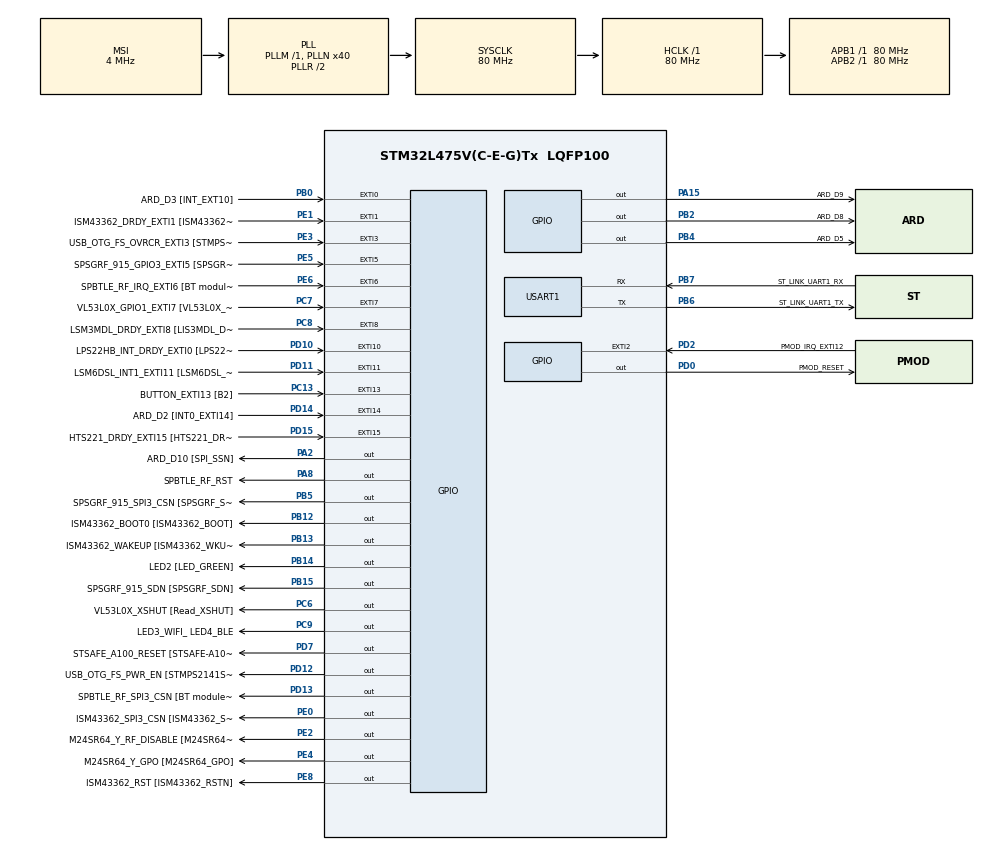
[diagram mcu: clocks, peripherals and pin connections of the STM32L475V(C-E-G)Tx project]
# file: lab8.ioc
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FREERTOS.Tasks01=Thread1,1,128,Thread1Func,Default,NULL,Dynamic,NULL,NULL;Thread2,0,128,Thread2Func,Default,NULL,Dynamic,NULL,NULL
Mcu.Family=STM32L4
Mcu.Name=STM32L475V(C-E-G)Tx
Mcu.Package=LQFP100
Mcu.UserConstants=mainDELAY_LOOP_COUNT,0xffffff
NVIC.EXTI15_10_IRQn=true\:5\:0\:false\:false\:true\:true\:true\:true
NVIC.EXTI9_5_IRQn=true\:5\:0\:false\:false\:true\:true\:true\:true
NVIC.PriorityGroup=NVIC_PRIORITYGROUP_4
PA0.GPIO_Label=ARD_D1 [UART4_TX]
PA0.Signal=UART4_TX
PA1.GPIO_Label=ARD_D0 [UART4_RX]
PA1.Signal=UART4_RX
PA10.GPIO_Label=USB_OTG_FS_ID
PA10.Signal=USB_OTG_FS_ID
PA11.GPIO_Label=USB_OTG_FS_DM
PA11.Signal=USB_OTG_FS_DM
PA12.GPIO_Label=USB_OTG_FS_DP
PA12.Signal=USB_OTG_FS_DP
PA13\ (JTMS-SWDIO).GPIO_Label=SYS_JTMS_SWDIO
PA13\ (JTMS-SWDIO).Mode=Serial_Wire
PA13\ (JTMS-SWDIO).Signal=SYS_JTMS-SWDIO
PA14\ (JTCK-SWCLK).GPIO_Label=SYS_JTCK_SWCLK
PA14\ (JTCK-SWCLK).Mode=Serial_Wire
PA14\ (JTCK-SWCLK).Signal=SYS_JTCK-SWCLK
PA15\ (JTDI).GPIO_Label=ARD_D9
PA15\ (JTDI).Signal=GPIO_Output
PA2.GPIO_Label=ARD_D10 [SPI_SSN]
PA2.Signal=GPIO_Output
PA3.GPIO_Label=ARD_D4
PA3.Signal=S_TIM2_CH4
PA4.GPIO_Label=ARD_D7
PA4.Signal=ADCx_IN9
PA5.GPIO_Label=ARD_D13 [SPI1_SCK]
PA5.Signal=SPI1_SCK
PA6.GPIO_Label=ARD_D12 [SPI1_MISO]
PA6.Signal=SPI1_MISO
PA7.GPIO_Label=ARD_D11 [SPI1_MOSI]
PA7.Signal=SPI1_MOSI
PA8.GPIO_Label=SPBTLE_RF_RST
PA8.Signal=GPIO_Output
PA9.GPIO_Label=USB_OTG_FS_VBUS [STMPS2141STR_OUT]
PA9.Signal=USB_OTG_FS_VBUS
PB0.GPIO_Label=ARD_D3 [INT_EXT10]
PB0.Signal=GPXTI0
PB1.GPIO_Label=ARD_D6 [ADC1_IN6]
PB1.Signal=ADCx_IN16
PB10.GPIO_Label=INTERNAL_I2C2_SCL [VL53L0X_SCL]
PB10.Signal=I2C2_SCL
PB11.GPIO_Label=INTERNAL_I2C2_SDA [VL53L0X_SDA]
PB11.Signal=I2C2_SDA
PB12.GPIO_Label=ISM43362_BOOT0 [ISM43362_BOOT]
PB12.Signal=GPIO_Output
PB13.GPIO_Label=ISM43362_WAKEUP [ISM43362_WKUP]
PB13.Signal=GPIO_Output
PB14.GPIO_Label=LED2 [LED_GREEN]
PB14.Signal=GPIO_Output
PB15.GPIO_Label=SPSGRF_915_SDN [SPSGRF_SDN]
PB15.Signal=GPIO_Output
PB2.GPIO_Label=ARD_D8
PB2.Signal=GPIO_Output
PB3\ (JTDO-TRACESWO).GPIO_Label=SYS_JTD0_SWO
PB3\ (JTDO-TRACESWO).Signal=SYS_JTDO-SWO
PB4\ (NJTRST).GPIO_Label=ARD_D5
PB4\ (NJTRST).Signal=GPIO_Output
PB5.GPIO_Label=SPSGRF_915_SPI3_CSN [SPSGRF_SPI_CS]
PB5.PinState=GPIO_PIN_SET
PB5.Signal=GPIO_Output
PB6.GPIO_Label=ST_LINK_UART1_TX
PB6.Mode=Asynchronous
PB6.Signal=USART1_TX
PB7.GPIO_Label=ST_LINK_UART1_RX
PB7.Mode=Asynchronous
PB7.Signal=USART1_RX
PB8.GPIO_Label=ARD_D15 [I2C1_SCL]
PB8.Signal=I2C1_SCL
PB9.GPIO_Label=ARD_D14 [I2C1_SDA]
PB9.Signal=I2C1_SDA
PC0.GPIO_Label=ARD_A5 [ADC]
PC0.Signal=ADCx_IN1
PC1.GPIO_Label=ARD_A4 [ADC]
PC1.Signal=ADCx_IN2
PC10.GPIO_Label=INTERNAL_SPI3_SCK [BT module_SPI_SCLK] [ISM43362_SCK]
PC10.Signal=SPI3_SCK
PC11.GPIO_Label=INTERNAL_SPI3_MISO [BT module_SPI_MISO] [ISM43362_MISO]
PC11.Signal=SPI3_MISO
PC12.GPIO_Label=INTERNAL_SPI3_MOSI [BT module_SPI_MOSI] [ISM43362_MOSI]
PC12.Signal=SPI3_MOSI
PC13.GPIO_Label=BUTTON_EXTI13 [B2]
PC13.GPIO_ModeDefaultEXTI=GPIO_MODE_IT_FALLING
PC13.Signal=GPXTI13
PC14-OSC32_IN\ (PC14).Signal=RCC_OSC32_IN
PC15-OSC32_OUT\ (PC15).Signal=RCC_OSC32_OUT
PC2.GPIO_Label=ARD_A3 [ADC]
PC2.Signal=ADCx_IN3
PC3.GPIO_Label=ARD_A2 [ADC]
PC3.Signal=ADCx_IN4
PC4.GPIO_Label=ARD_A1 [ADC]
PC4.Signal=ADCx_IN13
PC5.GPIO_Label=ARD_A0 [ADC]
PC5.Signal=ADCx_IN14
PC6.GPIO_Label=VL53L0X_XSHUT [Read_XSHUT]
PC6.Signal=GPIO_Output
PC7.GPIO_Label=VL53L0X_GPIO1_EXTI7 [VL53L0X_GPIO1]
PC7.Signal=GPXTI7
PC8.GPIO_Label=LSM3MDL_DRDY_EXTI8 [LIS3MDL_DRDY]
PC8.Signal=GPXTI8
PC9.GPIO_Label=LED3_WIFI_ LED4_BLE
PC9.Signal=GPIO_Output
PD0.GPIO_Label=PMOD_RESET
PD0.Signal=GPIO_Output
PD1.GPIO_Label=PMOD_SPI2_SCK
PD1.Signal=SPI2_SCK
PD10.GPIO_Label=LPS22HB_INT_DRDY_EXTI0 [LPS22HB_INT_DRDY] 
PD10.Signal=GPXTI10
PD11.GPIO_Label=LSM6DSL_INT1_EXTI11 [LSM6DSL_INT1]
PD11.Signal=GPXTI11
PD12.GPIO_Label=USB_OTG_FS_PWR_EN [STMPS2141STR_EN]
PD12.Signal=GPIO_Output
PD13.GPIO_Label=SPBTLE_RF_SPI3_CSN [BT module_SPI_CS]
PD13.PinState=GPIO_PIN_SET
PD13.Signal=GPIO_Output
PD14.GPIO_Label=ARD_D2 [INT0_EXTI14]
PD14.Signal=GPXTI14
PD15.GPIO_Label=HTS221_DRDY_EXTI15 [HTS221_DRDY]
PD15.Signal=GPXTI15
PD2.GPIO_Label=PMOD_IRQ_EXTI12
PD2.Signal=GPXTI2
PD3.GPIO_Label=PMOD_UART2_CTS
PD3.Signal=USART2_CTS
PD4.GPIO_Label=PMOD_UART2_RTS
PD4.Signal=USART2_RTS
PD5.GPIO_Label=PMOD_UART2_TX
PD5.Signal=USART2_TX
PD6.GPIO_Label=PMOD_UART2_RX
PD6.Signal=USART2_RX
PD7.GPIO_Label=STSAFE_A100_RESET [STSAFE-A100_RESET]
PD7.Signal=GPIO_Output
PD8.GPIO_Label=INTERNAL_UART3_TX [ISM43362_RX]
PD8.Signal=USART3_TX
PD9.GPIO_Label=INTERNAL_UART3_RX [ISM43362_TX]
PD9.Signal=USART3_RX
PE0.GPIO_Label=ISM43362_SPI3_CSN [ISM43362_SSN]
PE0.PinState=GPIO_PIN_SET
PE0.Signal=GPIO_Output
PE1.GPIO_Label=ISM43362_DRDY_EXTI1 [ISM43362_DATARDY]
PE1.Signal=GPXTI1
PE10.GPIO_Label=QUADSPI_CLK [MX25R6435F_SCLK]
PE10.Signal=QUADSPI_CLK
PE11.GPIO_Label=QUADSPI_NCS [MX25R6435F_SCLK]
PE11.Signal=QUADSPI_NCS
PE12.GPIO_Label=OQUADSPI_BK1_IO0 [MX25R6435F_IO0]
PE12.Signal=QUADSPI_BK1_IO0
PE13.GPIO_Label=QUADSPI_BK1_IO1 [MX25R6435F_IO1]
PE13.Signal=QUADSPI_BK1_IO1
PE14.GPIO_Label=QUAD_SPI_BK1_IO2 [MX25R6435F_IO2]
PE14.Signal=QUADSPI_BK1_IO2
PE15.GPIO_Label=QUAD_SPI_BK1_IO3 [MX25R6435F_IO3]
PE15.Signal=QUADSPI_BK1_IO3
PE2.GPIO_Label=M24SR64_Y_RF_DISABLE [M24SR64_RFDIS]
PE2.Signal=GPIO_Output
PE3.GPIO_Label=USB_OTG_FS_OVRCR_EXTI3 [STMPS2141STR_FAULT]
PE3.Signal=GPXTI3
PE4.GPIO_Label=M24SR64_Y_GPO [M24SR64_GPO]
PE4.Signal=GPIO_Output
PE5.GPIO_Label=SPSGRF_915_GPIO3_EXTI5 [SPSGRF_GPIO_3]
PE5.Signal=GPXTI5
PE6.GPIO_Label=SPBTLE_RF_IRQ_EXTI6 [BT module_SPI_IRQ]
PE6.Signal=GPXTI6
PE7.GPIO_Label=DFSDM1_DATIN2 [MP34DT01_DOUT]
PE7.Signal=S_DATAIN2DFSDM1
PE8.GPIO_Label=ISM43362_RST [ISM43362_RSTN]
PE8.Signal=GPIO_Output
PE9.GPIO_Label=DFSDM1_CKOUT [MP34DT01_CLK]
PE9.Signal=S_CKOUTDFSDM1
ProjectManager.HeapSize=0x200
ProjectManager.StackSize=0x400
ProjectManager.TargetToolchain=MDK-ARM V5.27
RCC.ADCFreq_Value=48000000
RCC.AHBFreq_Value=80000000
RCC.APB1Freq_Value=80000000
RCC.APB1TimFreq_Value=80000000
RCC.APB2Freq_Value=80000000
RCC.APB2TimFreq_Value=80000000
RCC.CortexFreq_Value=80000000
RCC.HCLKFreq_Value=80000000
RCC.HSE_VALUE=8000000
RCC.HSI_VALUE=16000000
RCC.LSE_VALUE=32768
RCC.MSI_VALUE=4000000
RCC.PLLN=40
RCC.PLLSAI1N=24
RCC.SYSCLKFreq_VALUE=80000000
RCC.SYSCLKSource=RCC_SYSCLKSOURCE_PLLCLK
RCC.USBFreq_Value=48000000
RCC.VCOOutputFreq_Value=160000000
SH.ADCx_IN1.0=ADC1_IN1
SH.ADCx_IN13.0=ADC1_IN13
SH.ADCx_IN14.0=ADC1_IN14
SH.ADCx_IN16.0=ADC1_IN16
SH.ADCx_IN2.0=ADC1_IN2
SH.ADCx_IN3.0=ADC1_IN3
SH.ADCx_IN4.0=ADC1_IN4
SH.ADCx_IN9.0=ADC1_IN9
SH.S_CKOUTDFSDM1.0=DFSDM1_CKOUT
SH.S_DATAIN2DFSDM1.0=DFSDM1_DATIN2
SH.S_TIM2_CH4.0=TIM2_CH4
USART1.VirtualMode-Asynchronous=VM_ASYNC
VP_FREERTOS_VS_CMSIS_V1.Mode=CMSIS_V1
board=B-L475E-IOT01A1

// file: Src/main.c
/* USER CODE BEGIN Header */
/**
  ******************************************************************************
  * @file           : main.c
  * @brief          : Main program body
  ******************************************************************************
  * @attention
  *
  * <h2><center>&copy; Copyright (c) 2020 STMicroelectronics.
  * All rights reserved.</center></h2>
  *
  * This software component is licensed by ST under Ultimate Liberty license
  * SLA0044, the "License"; You may not use this file except in compliance with
  * the License. You may obtain a copy of the License at:
  *                             www.st.com/SLA0044
  *
  ******************************************************************************
  */
/* USER CODE END Header */

#include "main.h"
#include "cmsis_os.h"

/* USER CODE BEGIN Includes */
#include "stdio.h"
/* USER CODE END Includes */

UART_HandleTypeDef huart1;

osThreadId Thread1Handle;
osThreadId Thread2Handle;

void SystemClock_Config(void);
static void MX_GPIO_Init(void);
static void MX_USART1_UART_Init(void);
void Thread1Func(void const * argument);
void Thread2Func(void const * argument);

/* USER CODE BEGIN PFP */
#ifdef __GNUC__
#define PUTCHAR_PROTOTYPE int __io_putchar(int ch)
#else
#define PUTCHAR_PROTOTYPE int fputc(int ch, FILE *f)
#endif /* __GNUC__ */
/* USER CODE END PFP */

/* USER CODE BEGIN 0 */
PUTCHAR_PROTOTYPE
{
  /* e.g. write a character to the USART1 and Loop until the end of transmission */
  HAL_UART_Transmit(&huart1, (uint8_t *)&ch, 1, 0xFFFF);

  return ch;
}
/* USER CODE END 0 */

int main(void)
{

  /* MCU Configuration--------------------------------------------------------*/

  /* Reset of all peripherals, Initializes the Flash interface and the Systick. */
  HAL_Init();

  /* Configure the system clock */
  SystemClock_Config();

  /* Initialize all configured peripherals */
  MX_GPIO_Init();
  MX_USART1_UART_Init();
  /* USER CODE BEGIN 2 */
	printf("\n\rFreeRTOS Lab 8\n\r");
  /* USER CODE END 2 */

  /* Create the thread(s) */
  /* definition and creation of Thread1 */
  osThreadDef(Thread1, Thread1Func, osPriorityAboveNormal, 0, 128);
  Thread1Handle = osThreadCreate(osThread(Thread1), NULL);

  /* definition and creation of Thread2 */
  osThreadDef(Thread2, Thread2Func, osPriorityNormal, 0, 128);
  Thread2Handle = osThreadCreate(osThread(Thread2), NULL);

  /* Start scheduler */
  osKernelStart();

  /* We should never get here as control is now taken by the scheduler */

  /* Infinite loop */
  while (1)
  {

  }
}

void SystemClock_Config(void)
{
  RCC_OscInitTypeDef RCC_OscInitStruct = {0};
  RCC_ClkInitTypeDef RCC_ClkInitStruct = {0};
  RCC_PeriphCLKInitTypeDef PeriphClkInit = {0};

  /** Initializes the CPU, AHB and APB busses clocks
  */
  RCC_OscInitStruct.OscillatorType = RCC_OSCILLATORTYPE_MSI;
  RCC_OscInitStruct.MSIState = RCC_MSI_ON;
  RCC_OscInitStruct.MSICalibrationValue = 0;
  RCC_OscInitStruct.MSIClockRange = RCC_MSIRANGE_6;
  RCC_OscInitStruct.PLL.PLLState = RCC_PLL_ON;
  RCC_OscInitStruct.PLL.PLLSource = RCC_PLLSOURCE_MSI;
  RCC_OscInitStruct.PLL.PLLM = 1;
  RCC_OscInitStruct.PLL.PLLN = 40;
  RCC_OscInitStruct.PLL.PLLP = RCC_PLLP_DIV7;
  RCC_OscInitStruct.PLL.PLLQ = RCC_PLLQ_DIV2;
  RCC_OscInitStruct.PLL.PLLR = RCC_PLLR_DIV2;
  if (HAL_RCC_OscConfig(&RCC_OscInitStruct) != HAL_OK)
  {
    Error_Handler();
  }
  /** Initializes the CPU, AHB and APB busses clocks
  */
  RCC_ClkInitStruct.ClockType = RCC_CLOCKTYPE_HCLK|RCC_CLOCKTYPE_SYSCLK
                              |RCC_CLOCKTYPE_PCLK1|RCC_CLOCKTYPE_PCLK2;
  RCC_ClkInitStruct.SYSCLKSource = RCC_SYSCLKSOURCE_PLLCLK;
  RCC_ClkInitStruct.AHBCLKDivider = RCC_SYSCLK_DIV1;
  RCC_ClkInitStruct.APB1CLKDivider = RCC_HCLK_DIV1;
  RCC_ClkInitStruct.APB2CLKDivider = RCC_HCLK_DIV1;

  if (HAL_RCC_ClockConfig(&RCC_ClkInitStruct, FLASH_LATENCY_4) != HAL_OK)
  {
    Error_Handler();
  }
  PeriphClkInit.PeriphClockSelection = RCC_PERIPHCLK_USART1;
  PeriphClkInit.Usart1ClockSelection = RCC_USART1CLKSOURCE_PCLK2;
  if (HAL_RCCEx_PeriphCLKConfig(&PeriphClkInit) != HAL_OK)
  {
    Error_Handler();
  }
  /** Configure the main internal regulator output voltage
  */
  if (HAL_PWREx_ControlVoltageScaling(PWR_REGULATOR_VOLTAGE_SCALE1) != HAL_OK)
  {
    Error_Handler();
  }
}

static void MX_USART1_UART_Init(void)
{

  huart1.Instance = USART1;
  huart1.Init.BaudRate = 115200;
  huart1.Init.WordLength = UART_WORDLENGTH_8B;
  huart1.Init.StopBits = UART_STOPBITS_1;
  huart1.Init.Parity = UART_PARITY_NONE;
  huart1.Init.Mode = UART_MODE_TX_RX;
  huart1.Init.HwFlowCtl = UART_HWCONTROL_NONE;
  huart1.Init.OverSampling = UART_OVERSAMPLING_16;
  huart1.Init.OneBitSampling = UART_ONE_BIT_SAMPLE_DISABLE;
  huart1.AdvancedInit.AdvFeatureInit = UART_ADVFEATURE_NO_INIT;
  if (HAL_UART_Init(&huart1) != HAL_OK)
  {
    Error_Handler();
  }

}

static void MX_GPIO_Init(void)
{
  GPIO_InitTypeDef GPIO_InitStruct = {0};

  /* GPIO Ports Clock Enable */
  __HAL_RCC_GPIOE_CLK_ENABLE();
  __HAL_RCC_GPIOC_CLK_ENABLE();
  __HAL_RCC_GPIOH_CLK_ENABLE();
  __HAL_RCC_GPIOA_CLK_ENABLE();
  __HAL_RCC_GPIOB_CLK_ENABLE();
  __HAL_RCC_GPIOD_CLK_ENABLE();

  /*Configure GPIO pin Output Level */
  HAL_GPIO_WritePin(GPIOE, M24SR64_Y_RF_DISABLE_Pin|M24SR64_Y_GPO_Pin|ISM43362_RST_Pin, GPIO_PIN_RESET);

  /*Configure GPIO pin Output Level */
  HAL_GPIO_WritePin(GPIOA, ARD_D10_Pin|SPBTLE_RF_RST_Pin|ARD_D9_Pin, GPIO_PIN_RESET);

  /*Configure GPIO pin Output Level */
  HAL_GPIO_WritePin(GPIOB, ARD_D8_Pin|ISM43362_BOOT0_Pin|ISM43362_WAKEUP_Pin|LED2_Pin
                          |SPSGRF_915_SDN_Pin|ARD_D5_Pin, GPIO_PIN_RESET);

  /*Configure GPIO pin Output Level */
  HAL_GPIO_WritePin(GPIOD, USB_OTG_FS_PWR_EN_Pin|PMOD_RESET_Pin|STSAFE_A100_RESET_Pin, GPIO_PIN_RESET);

  /*Configure GPIO pin Output Level */
  HAL_GPIO_WritePin(SPBTLE_RF_SPI3_CSN_GPIO_Port, SPBTLE_RF_SPI3_CSN_Pin, GPIO_PIN_SET);

  /*Configure GPIO pin Output Level */
  HAL_GPIO_WritePin(GPIOC, VL53L0X_XSHUT_Pin|LED3_WIFI__LED4_BLE_Pin, GPIO_PIN_RESET);

  /*Configure GPIO pin Output Level */
  HAL_GPIO_WritePin(SPSGRF_915_SPI3_CSN_GPIO_Port, SPSGRF_915_SPI3_CSN_Pin, GPIO_PIN_SET);

  /*Configure GPIO pin Output Level */
  HAL_GPIO_WritePin(ISM43362_SPI3_CSN_GPIO_Port, ISM43362_SPI3_CSN_Pin, GPIO_PIN_SET);

  /*Configure GPIO pins : M24SR64_Y_RF_DISABLE_Pin M24SR64_Y_GPO_Pin ISM43362_RST_Pin ISM43362_SPI3_CSN_Pin */
  GPIO_InitStruct.Pin = M24SR64_Y_RF_DISABLE_Pin|M24SR64_Y_GPO_Pin|ISM43362_RST_Pin|ISM43362_SPI3_CSN_Pin;
  GPIO_InitStruct.Mode = GPIO_MODE_OUTPUT_PP;
  GPIO_InitStruct.Pull = GPIO_NOPULL;
  GPIO_InitStruct.Speed = GPIO_SPEED_FREQ_LOW;
  HAL_GPIO_Init(GPIOE, &GPIO_InitStruct);

  /*Configure GPIO pins : USB_OTG_FS_OVRCR_EXTI3_Pin SPSGRF_915_GPIO3_EXTI5_Pin SPBTLE_RF_IRQ_EXTI6_Pin ISM43362_DRDY_EXTI1_Pin */
  GPIO_InitStruct.Pin = USB_OTG_FS_OVRCR_EXTI3_Pin|SPSGRF_915_GPIO3_EXTI5_Pin|SPBTLE_RF_IRQ_EXTI6_Pin|ISM43362_DRDY_EXTI1_Pin;
  GPIO_InitStruct.Mode = GPIO_MODE_IT_RISING;
  GPIO_InitStruct.Pull = GPIO_NOPULL;
  HAL_GPIO_Init(GPIOE, &GPIO_InitStruct);

  /*Configure GPIO pin : BUTTON_EXTI13_Pin */
  GPIO_InitStruct.Pin = BUTTON_EXTI13_Pin;
  GPIO_InitStruct.Mode = GPIO_MODE_IT_FALLING;
  GPIO_InitStruct.Pull = GPIO_NOPULL;
  HAL_GPIO_Init(BUTTON_EXTI13_GPIO_Port, &GPIO_InitStruct);

  /*Configure GPIO pins : PH0 PH1 */
  GPIO_InitStruct.Pin = GPIO_PIN_0|GPIO_PIN_1;
  GPIO_InitStruct.Mode = GPIO_MODE_ANALOG;
  GPIO_InitStruct.Pull = GPIO_NOPULL;
  HAL_GPIO_Init(GPIOH, &GPIO_InitStruct);

  /*Configure GPIO pins : ARD_A5_Pin ARD_A4_Pin ARD_A3_Pin ARD_A2_Pin
                           ARD_A1_Pin ARD_A0_Pin */
  GPIO_InitStruct.Pin = ARD_A5_Pin|ARD_A4_Pin|ARD_A3_Pin|ARD_A2_Pin
                          |ARD_A1_Pin|ARD_A0_Pin;
  GPIO_InitStruct.Mode = GPIO_MODE_ANALOG_ADC_CONTROL;
  GPIO_InitStruct.Pull = GPIO_NOPULL;
  HAL_GPIO_Init(GPIOC, &GPIO_InitStruct);

  /*Configure GPIO pins : ARD_D1_Pin ARD_D0_Pin */
  GPIO_InitStruct.Pin = ARD_D1_Pin|ARD_D0_Pin;
  GPIO_InitStruct.Mode = GPIO_MODE_AF_PP;
  GPIO_InitStruct.Pull = GPIO_NOPULL;
  GPIO_InitStruct.Speed = GPIO_SPEED_FREQ_VERY_HIGH;
  GPIO_InitStruct.Alternate = GPIO_AF8_UART4;
  HAL_GPIO_Init(GPIOA, &GPIO_InitStruct);

  /*Configure GPIO pins : ARD_D10_Pin SPBTLE_RF_RST_Pin ARD_D9_Pin */
  GPIO_InitStruct.Pin = ARD_D10_Pin|SPBTLE_RF_RST_Pin|ARD_D9_Pin;
  GPIO_InitStruct.Mode = GPIO_MODE_OUTPUT_PP;
  GPIO_InitStruct.Pull = GPIO_NOPULL;
  GPIO_InitStruct.Speed = GPIO_SPEED_FREQ_LOW;
  HAL_GPIO_Init(GPIOA, &GPIO_InitStruct);

  /*Configure GPIO pin : ARD_D4_Pin */
  GPIO_InitStruct.Pin = ARD_D4_Pin;
  GPIO_InitStruct.Mode = GPIO_MODE_AF_PP;
  GPIO_InitStruct.Pull = GPIO_NOPULL;
  GPIO_InitStruct.Speed = GPIO_SPEED_FREQ_LOW;
  GPIO_InitStruct.Alternate = GPIO_AF1_TIM2;
  HAL_GPIO_Init(ARD_D4_GPIO_Port, &GPIO_InitStruct);

  /*Configure GPIO pin : ARD_D7_Pin */
  GPIO_InitStruct.Pin = ARD_D7_Pin;
  GPIO_InitStruct.Mode = GPIO_MODE_ANALOG_ADC_CONTROL;
  GPIO_InitStruct.Pull = GPIO_NOPULL;
  HAL_GPIO_Init(ARD_D7_GPIO_Port, &GPIO_InitStruct);

  /*Configure GPIO pins : ARD_D13_Pin ARD_D12_Pin ARD_D11_Pin */
  GPIO_InitStruct.Pin = ARD_D13_Pin|ARD_D12_Pin|ARD_D11_Pin;
  GPIO_InitStruct.Mode = GPIO_MODE_AF_PP;
  GPIO_InitStruct.Pull = GPIO_NOPULL;
  GPIO_InitStruct.Speed = GPIO_SPEED_FREQ_VERY_HIGH;
  GPIO_InitStruct.Alternate = GPIO_AF5_SPI1;
  HAL_GPIO_Init(GPIOA, &GPIO_InitStruct);

  /*Configure GPIO pin : ARD_D3_Pin */
  GPIO_InitStruct.Pin = ARD_D3_Pin;
  GPIO_InitStruct.Mode = GPIO_MODE_IT_RISING;
  GPIO_InitStruct.Pull = GPIO_NOPULL;
  HAL_GPIO_Init(ARD_D3_GPIO_Port, &GPIO_InitStruct);

  /*Configure GPIO pin : ARD_D6_Pin */
  GPIO_InitStruct.Pin = ARD_D6_Pin;
  GPIO_InitStruct.Mode = GPIO_MODE_ANALOG_ADC_CONTROL;
  GPIO_InitStruct.Pull = GPIO_NOPULL;
  HAL_GPIO_Init(ARD_D6_GPIO_Port, &GPIO_InitStruct);

  /*Configure GPIO pins : ARD_D8_Pin ISM43362_BOOT0_Pin ISM43362_WAKEUP_Pin LED2_Pin
                           SPSGRF_915_SDN_Pin ARD_D5_Pin SPSGRF_915_SPI3_CSN_Pin */
  GPIO_InitStruct.Pin = ARD_D8_Pin|ISM43362_BOOT0_Pin|ISM43362_WAKEUP_Pin|LED2_Pin
                          |SPSGRF_915_SDN_Pin|ARD_D5_Pin|SPSGRF_915_SPI3_CSN_Pin;
  GPIO_InitStruct.Mode = GPIO_MODE_OUTPUT_PP;
  GPIO_InitStruct.Pull = GPIO_NOPULL;
  GPIO_InitStruct.Speed = GPIO_SPEED_FREQ_LOW;
  HAL_GPIO_Init(GPIOB, &GPIO_InitStruct);

  /*Configure GPIO pins : DFSDM1_DATIN2_Pin DFSDM1_CKOUT_Pin */
  GPIO_InitStruct.Pin = DFSDM1_DATIN2_Pin|DFSDM1_CKOUT_Pin;
  GPIO_InitStruct.Mode = GPIO_MODE_AF_PP;
  GPIO_InitStruct.Pull = GPIO_NOPULL;
  GPIO_InitStruct.Speed = GPIO_SPEED_FREQ_LOW;
  GPIO_InitStruct.Alternate = GPIO_AF6_DFSDM1;
  HAL_GPIO_Init(GPIOE, &GPIO_InitStruct);

  /*Configure GPIO pins : QUADSPI_CLK_Pin QUADSPI_NCS_Pin OQUADSPI_BK1_IO0_Pin QUADSPI_BK1_IO1_Pin
                           QUAD_SPI_BK1_IO2_Pin QUAD_SPI_BK1_IO3_Pin */
  GPIO_InitStruct.Pin = QUADSPI_CLK_Pin|QUADSPI_NCS_Pin|OQUADSPI_BK1_IO0_Pin|QUADSPI_BK1_IO1_Pin
                          |QUAD_SPI_BK1_IO2_Pin|QUAD_SPI_BK1_IO3_Pin;
  GPIO_InitStruct.Mode = GPIO_MODE_AF_PP;
  GPIO_InitStruct.Pull = GPIO_NOPULL;
  GPIO_InitStruct.Speed = GPIO_SPEED_FREQ_VERY_HIGH;
  GPIO_InitStruct.Alternate = GPIO_AF10_QUADSPI;
  HAL_GPIO_Init(GPIOE, &GPIO_InitStruct);

  /*Configure GPIO pins : INTERNAL_I2C2_SCL_Pin INTERNAL_I2C2_SDA_Pin */
  GPIO_InitStruct.Pin = INTERNAL_I2C2_SCL_Pin|INTERNAL_I2C2_SDA_Pin;
  GPIO_InitStruct.Mode = GPIO_MODE_AF_OD;
  GPIO_InitStruct.Pull = GPIO_PULLUP;
  GPIO_InitStruct.Speed = GPIO_SPEED_FREQ_VERY_HIGH;
  GPIO_InitStruct.Alternate = GPIO_AF4_I2C2;
  HAL_GPIO_Init(GPIOB, &GPIO_InitStruct);

  /*Configure GPIO pins : INTERNAL_UART3_TX_Pin INTERNAL_UART3_RX_Pin */
  GPIO_InitStruct.Pin = INTERNAL_UART3_TX_Pin|INTERNAL_UART3_RX_Pin;
  GPIO_InitStruct.Mode = GPIO_MODE_AF_PP;
  GPIO_InitStruct.Pull = GPIO_NOPULL;
  GPIO_InitStruct.Speed = GPIO_SPEED_FREQ_VERY_HIGH;
  GPIO_InitStruct.Alternate = GPIO_AF7_USART3;
  HAL_GPIO_Init(GPIOD, &GPIO_InitStruct);

  /*Configure GPIO pins : LPS22HB_INT_DRDY_EXTI0_Pin LSM6DSL_INT1_EXTI11_Pin ARD_D2_Pin HTS221_DRDY_EXTI15_Pin
                           PMOD_IRQ_EXTI12_Pin */
  GPIO_InitStruct.Pin = LPS22HB_INT_DRDY_EXTI0_Pin|LSM6DSL_INT1_EXTI11_Pin|ARD_D2_Pin|HTS221_DRDY_EXTI15_Pin
                          |PMOD_IRQ_EXTI12_Pin;
  GPIO_InitStruct.Mode = GPIO_MODE_IT_RISING;
  GPIO_InitStruct.Pull = GPIO_NOPULL;
  HAL_GPIO_Init(GPIOD, &GPIO_InitStruct);

  /*Configure GPIO pins : USB_OTG_FS_PWR_EN_Pin SPBTLE_RF_SPI3_CSN_Pin PMOD_RESET_Pin STSAFE_A100_RESET_Pin */
  GPIO_InitStruct.Pin = USB_OTG_FS_PWR_EN_Pin|SPBTLE_RF_SPI3_CSN_Pin|PMOD_RESET_Pin|STSAFE_A100_RESET_Pin;
  GPIO_InitStruct.Mode = GPIO_MODE_OUTPUT_PP;
  GPIO_InitStruct.Pull = GPIO_NOPULL;
  GPIO_InitStruct.Speed = GPIO_SPEED_FREQ_LOW;
  HAL_GPIO_Init(GPIOD, &GPIO_InitStruct);

  /*Configure GPIO pins : VL53L0X_XSHUT_Pin LED3_WIFI__LED4_BLE_Pin */
  GPIO_InitStruct.Pin = VL53L0X_XSHUT_Pin|LED3_WIFI__LED4_BLE_Pin;
  GPIO_InitStruct.Mode = GPIO_MODE_OUTPUT_PP;
  GPIO_InitStruct.Pull = GPIO_NOPULL;
  GPIO_InitStruct.Speed = GPIO_SPEED_FREQ_LOW;
  HAL_GPIO_Init(GPIOC, &GPIO_InitStruct);

  /*Configure GPIO pins : VL53L0X_GPIO1_EXTI7_Pin LSM3MDL_DRDY_EXTI8_Pin */
  GPIO_InitStruct.Pin = VL53L0X_GPIO1_EXTI7_Pin|LSM3MDL_DRDY_EXTI8_Pin;
  GPIO_InitStruct.Mode = GPIO_MODE_IT_RISING;
  GPIO_InitStruct.Pull = GPIO_NOPULL;
  HAL_GPIO_Init(GPIOC, &GPIO_InitStruct);

  /*Configure GPIO pin : USB_OTG_FS_VBUS_Pin */
  GPIO_InitStruct.Pin = USB_OTG_FS_VBUS_Pin;
  GPIO_InitStruct.Mode = GPIO_MODE_INPUT;
  GPIO_InitStruct.Pull = GPIO_NOPULL;
  HAL_GPIO_Init(USB_OTG_FS_VBUS_GPIO_Port, &GPIO_InitStruct);

  /*Configure GPIO pins : USB_OTG_FS_ID_Pin USB_OTG_FS_DM_Pin USB_OTG_FS_DP_Pin */
  GPIO_InitStruct.Pin = USB_OTG_FS_ID_Pin|USB_OTG_FS_DM_Pin|USB_OTG_FS_DP_Pin;
  GPIO_InitStruct.Mode = GPIO_MODE_AF_PP;
  GPIO_InitStruct.Pull = GPIO_NOPULL;
  GPIO_InitStruct.Speed = GPIO_SPEED_FREQ_VERY_HIGH;
  GPIO_InitStruct.Alternate = GPIO_AF10_OTG_FS;
  HAL_GPIO_Init(GPIOA, &GPIO_InitStruct);

  /*Configure GPIO pins : INTERNAL_SPI3_SCK_Pin INTERNAL_SPI3_MISO_Pin INTERNAL_SPI3_MOSI_Pin */
  GPIO_InitStruct.Pin = INTERNAL_SPI3_SCK_Pin|INTERNAL_SPI3_MISO_Pin|INTERNAL_SPI3_MOSI_Pin;
  GPIO_InitStruct.Mode = GPIO_MODE_AF_PP;
  GPIO_InitStruct.Pull = GPIO_NOPULL;
  GPIO_InitStruct.Speed = GPIO_SPEED_FREQ_VERY_HIGH;
  GPIO_InitStruct.Alternate = GPIO_AF6_SPI3;
  HAL_GPIO_Init(GPIOC, &GPIO_InitStruct);

  /*Configure GPIO pin : PMOD_SPI2_SCK_Pin */
  GPIO_InitStruct.Pin = PMOD_SPI2_SCK_Pin;
  GPIO_InitStruct.Mode = GPIO_MODE_AF_PP;
  GPIO_InitStruct.Pull = GPIO_NOPULL;
  GPIO_InitStruct.Speed = GPIO_SPEED_FREQ_VERY_HIGH;
  GPIO_InitStruct.Alternate = GPIO_AF5_SPI2;
  HAL_GPIO_Init(PMOD_SPI2_SCK_GPIO_Port, &GPIO_InitStruct);

  /*Configure GPIO pins : PMOD_UART2_CTS_Pin PMOD_UART2_RTS_Pin PMOD_UART2_TX_Pin PMOD_UART2_RX_Pin */
  GPIO_InitStruct.Pin = PMOD_UART2_CTS_Pin|PMOD_UART2_RTS_Pin|PMOD_UART2_TX_Pin|PMOD_UART2_RX_Pin;
  GPIO_InitStruct.Mode = GPIO_MODE_AF_PP;
  GPIO_InitStruct.Pull = GPIO_NOPULL;
  GPIO_InitStruct.Speed = GPIO_SPEED_FREQ_VERY_HIGH;
  GPIO_InitStruct.Alternate = GPIO_AF7_USART2;
  HAL_GPIO_Init(GPIOD, &GPIO_InitStruct);

  /*Configure GPIO pins : ARD_D15_Pin ARD_D14_Pin */
  GPIO_InitStruct.Pin = ARD_D15_Pin|ARD_D14_Pin;
  GPIO_InitStruct.Mode = GPIO_MODE_AF_OD;
  GPIO_InitStruct.Pull = GPIO_PULLUP;
  GPIO_InitStruct.Speed = GPIO_SPEED_FREQ_VERY_HIGH;
  GPIO_InitStruct.Alternate = GPIO_AF4_I2C1;
  HAL_GPIO_Init(GPIOB, &GPIO_InitStruct);

  /* EXTI interrupt init*/
  HAL_NVIC_SetPriority(EXTI9_5_IRQn, 5, 0);
  HAL_NVIC_EnableIRQ(EXTI9_5_IRQn);

  HAL_NVIC_SetPriority(EXTI15_10_IRQn, 5, 0);
  HAL_NVIC_EnableIRQ(EXTI15_10_IRQn);

}

void Thread1Func(void const * argument)
{
  /* USER CODE BEGIN 5 */
	osPriority uxPriority;
	volatile unsigned long ul;
  /* Infinite loop */
  for(;;)
  {
		printf("\n\rThread 1 is running: Raise the priority of thread2\n\r");
		for( ul = 0; ul < mainDELAY_LOOP_COUNT; ul++)
		{
			//Delay implementation
		}
    osThreadSetPriority(Thread2Handle, uxPriority + 1);
  }
  /* USER CODE END 5 */
}

void Thread2Func(void const * argument)
{
  /* USER CODE BEGIN Thread2Func */
	osPriority uxPriority;
	volatile unsigned long ul;
  /* Infinite loop */
  for(;;)
  {
    printf("\n\rThread 2 is running: Lower the priority of itself\n\r");
		for( ul = 0; ul < mainDELAY_LOOP_COUNT; ul++)
		{
			//Delay implementation
		}
    osThreadSetPriority(Thread2Handle, uxPriority - 1);
  }
  /* USER CODE END Thread2Func */
}

void Error_Handler(void)
{
}

/************************ (C) COPYRIGHT STMicroelectronics *****END OF FILE****/
